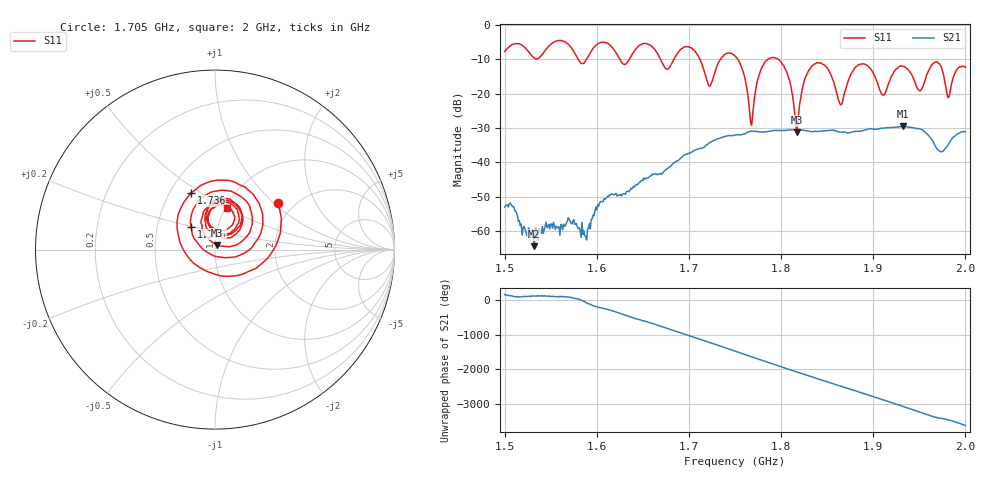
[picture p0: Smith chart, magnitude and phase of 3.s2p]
! NanoVNA-App by SYSJOINT et al v1.1.209 (+OD18)
! Date: 2026-01-21 14:51:30
! Start: 1,5GHz Stop: 2GHz Points: 501
! S-Parameter data: F S11 S21 S12 S22
# Hz S RI R 50
!  Frequency  S11_Real  S11_Imag  S21_Real  S21_Imag  S12_Real  S12_Imag  S22_Real  S22_Imag
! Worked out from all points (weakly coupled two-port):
!   501 points, 1.5 GHz to 2 GHz, reference 50 ohm
!   highest |S21| = -29.50 dB at 1.932 GHz (marker M1); lowest = -64.4 dB at 1.532 GHz (marker M2)
!   lowest |S11| = -31.2 dB at 1.817 GHz (marker M3), VSWR 1.06, Z = 50.8 + j2.65 ohm
!   |S11| at or under -10 dB: 1.712 GHz to 1.734 GHz (22.12 MHz wide, 1.28 % of centre); 1.753 GHz to 1.786 GHz (32.67 MHz wide, 1.85 % of centre); 1.797 GHz to end of sweep (the widest 3 of 6)
!   S12 and S22 are empty: the file has one direction only
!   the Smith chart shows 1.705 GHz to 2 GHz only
!   S11 on the Smith chart (normalised r, x): 1.705 GHz: 1.65, +1.06; 1.736 GHz: 0.64, +0.46; 1.776 GHz: 0.74, +0.20; 2 GHz: 1.02, +0.51
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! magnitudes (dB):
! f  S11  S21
! 1.5 GHz  -7.7  -53.0
! 1.532 GHz  -9.6  -64.4
! 1.561 GHz  -4.5  -58.0
! 1.584 GHz  -11.2  -57.5
! 1.667 GHz  -8.8  -43.5
! 1.705 GHz  -7.2  -36.7
! 1.722 GHz  -17.8  -34.3
! 1.736 GHz  -9.3  -32.7
! 1.75 GHz  -9.0  -32.0
! 1.767 GHz  -28.4  -31.0
! 1.776 GHz  -14.7  -31.1
! 1.8 GHz  -10.8  -30.7
! 1.817 GHz  -31.2  -30.5
! 1.834 GHz  -11.8  -31.0
! 1.864 GHz  -23.1  -31.2
! 1.885 GHz  -11.5  -31.0
! 1.917 GHz  -16.8  -29.9
! 1.932 GHz  -12.0  -29.5
! 1.95 GHz  -19.1  -30.2
! 1.97 GHz  -10.9  -36.3
! 1.981 GHz  -21.1  -35.0
! 2 GHz  -12.3  -31.0
